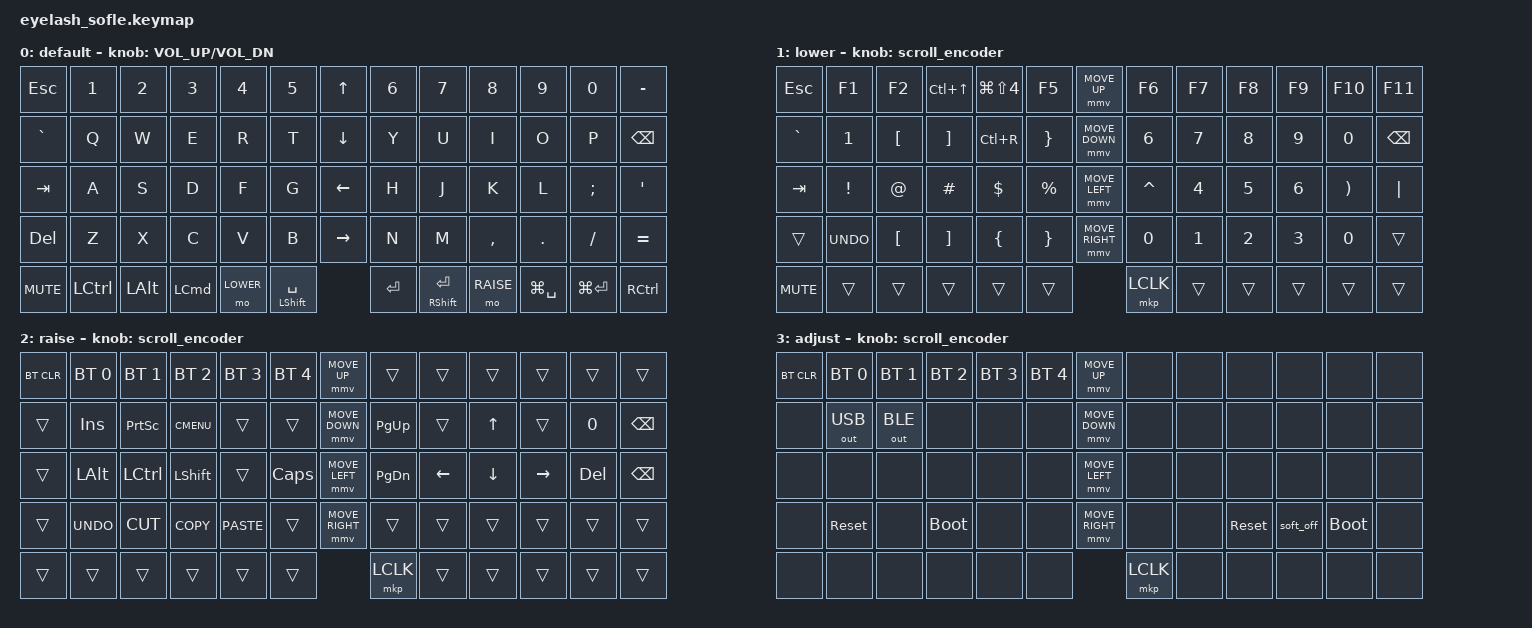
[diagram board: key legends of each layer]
/*
 * Copyright (c) 2020 The ZMK Contributors
 *
 * SPDX-License-Identifier: MIT
 */

#define ZMK_POINTING_DEFAULT_MOVE_VAL 1200
#define ZMK_POINTING_DEFAULT_SCRL_VAL 25

#include <input/processors.dtsi>
#include <zephyr/dt-bindings/input/input-event-codes.h>
#include <behaviors.dtsi>
#include <dt-bindings/zmk/bt.h>
#include <dt-bindings/zmk/keys.h>
#include <dt-bindings/zmk/outputs.h>
#include <dt-bindings/zmk/pointing.h>
#include <dt-bindings/zmk/rgb.h>

&mmv_input_listener { input-processors = <&zip_xy_scaler 2 1>; };

&msc_input_listener { input-processors = <&zip_scroll_scaler 2 1>; };

&msc {
    acceleration-exponent = <1>;
    time-to-max-speed-ms = <100>;
    delay-ms = <0>;
};

&mmv {
    time-to-max-speed-ms = <500>;
    acceleration-exponent = <1>;
    trigger-period-ms = <16>;
};

&soft_off { hold-time-ms = <2000>; };

#define BASE 0
#define LOWER 1
#define RAISE 2
#define ADJUST 3

/ {
    // Activate ADJUST layer by pressing raise and lower

    conditional_layers {
        compatible = "zmk,conditional-layers";

        adjust_layer {
            if-layers = <LOWER RAISE>;
            then-layer = <ADJUST>;
        };
    };

    scroll_encoder: scroll_encoder {
        compatible = "zmk,behavior-sensor-rotate";
        #sensor-binding-cells = <0>;
        bindings = <&msc SCRL_DOWN>, <&msc SCRL_UP>;
        tap-ms = <100>;
    };

    combos {
        compatible = "zmk,combos";

        softoff {
            bindings = <&soft_off>;
            key-positions = <14 28 40>;
        };
    };

    keymap {
        compatible = "zmk,keymap";

        default_layer {
            display-name = "default";

            // ----------------------------------------------------------------------------------------------------------------
            // |  ESC  |  1  |  2  |  3   |  4   |  5   |  UP  |  6   |  7    |  8    |  9   |   0   | MINUS |
            // | GRAVE |  Q  |  W  |  E   |  R   |  T   | DOWN |  Y   |  U    |  I    |  O   |   P   | BKSPC |
            // |  TAB  |  A  |  S  |  D   |  F   |  G   | LEFT |  H   |  J    |  K    |  L   |   ;   |   '   |
            // |  DEL  |  Z  |  X  |  C   |  V   |  B   | RIGHT|  N   |  M    |  ,    |  .   |   /   |   =   |
            //         | MUTE| CTRL| ALT  | CMD  |LOWER | SPACE| ENTER|RAISE  |Spotlight|LG(RET)| CTRL |

            bindings = <
&kp ESC     &kp N1  &kp N2            &kp N3    &kp N4            &kp N5                              &kp UP_ARROW     &kp N6     &kp N7         &kp N8         &kp N9             &kp N0    &kp MINUS
&kp GRAVE   &kp Q   &kp W             &kp E     &kp R             &kp T                               &kp DOWN_ARROW   &kp Y      &kp U          &kp I          &kp O              &kp P     &kp BSPC
&kp TAB     &kp A   &kp S             &kp D     &kp F             &kp G                               &kp LEFT_ARROW   &kp H      &kp J          &kp K          &kp L              &kp SEMI  &kp SQT
&kp DELETE  &kp Z   &kp X             &kp C     &kp V             &kp B                               &kp RIGHT_ARROW  &kp N      &kp M          &kp COMMA      &kp DOT            &kp FSLH  &kp EQUAL
&kp C_MUTE  &kp LEFT_CONTROL  &kp LALT  &kp LEFT_COMMAND  &mo LOWER  &mt LSHFT SPACE    &kp RET      &mt RSHFT RET    &mo RAISE  &kp LG(SPACE)  &kp LG(ENTER)  &kp RIGHT_CONTROL
            >;

            sensor-bindings = <&inc_dec_kp C_VOL_UP C_VOL_DN>;
        };

        lower_layer {
            display-name = "lower";

            bindings = <
&kp ESC    &kp F1      &kp F2            &kp LC(UP_ARROW)   &kp LG(LS(NUMBER_4))  &kp F5                                &mmv MOVE_UP     &kp F6     &kp F7        &kp F8        &kp F9        &kp F10   &kp F11
&kp GRAVE  &kp N1      &kp LEFT_BRACKET  &kp RIGHT_BRACKET  &kp LC(R)             &kp RIGHT_BRACE                       &mmv MOVE_DOWN   &kp N6     &kp N7        &kp N8        &kp N9        &kp N0    &kp BACKSPACE
&kp TAB    &kp EXCL    &kp AT            &kp HASH           &kp DLLR              &kp PRCNT                             &mmv MOVE_LEFT   &kp CARET  &kp NUMBER_4  &kp N5        &kp NUMBER_6  &kp RPAR  &kp PIPE
&trans     &kp K_UNDO  &kp LEFT_BRACKET  &kp RIGHT_BRACKET  &kp LEFT_BRACE        &kp RBRC                              &mmv MOVE_RIGHT  &kp N0     &kp NUMBER_1  &kp NUMBER_2  &kp NUMBER_3  &kp N0    &trans
&kp C_MUTE &trans      &trans            &trans              &trans                &trans             &mkp LCLK           &trans           &trans     &trans        &trans        &trans
            >;

            sensor-bindings = <&scroll_encoder>;
        };

        raise_layer {
            display-name = "raise";

            bindings = <
&bt BT_CLR  &bt BT_SEL 0  &bt BT_SEL 1  &bt BT_SEL 2  &bt BT_SEL 3  &bt BT_SEL 4                    &mmv MOVE_UP     &trans     &trans    &trans    &trans     &trans   &trans
&trans      &kp INS       &kp PSCRN     &kp K_CMENU   &trans        &trans                          &mmv MOVE_DOWN   &kp PG_UP  &trans    &kp UP    &trans     &kp N0   &kp BACKSPACE
&trans      &kp LALT      &kp LCTRL     &kp LSHFT     &trans        &kp CLCK                        &mmv MOVE_LEFT   &kp PG_DN  &kp LEFT  &kp DOWN  &kp RIGHT  &kp DEL  &kp BSPC
&trans      &kp K_UNDO    &kp K_CUT     &kp K_COPY    &kp K_PASTE   &trans                          &mmv MOVE_RIGHT  &trans     &trans    &trans    &trans     &trans   &trans
&trans      &trans        &trans        &trans        &trans        &trans             &mkp LCLK     &trans           &trans     &trans    &trans    &trans
            >;

            sensor-bindings = <&scroll_encoder>;
        };

        adjust_layer {
            display-name = "adjust";

            bindings = <
&bt BT_CLR  &bt BT_SEL 0  &bt BT_SEL 1    &bt BT_SEL 2  &bt BT_SEL 3  &bt BT_SEL 4                    &mmv MOVE_UP     &none  &none  &none       &none      &none        &none
&none       &out OUT_USB  &out OUT_BLE    &none         &none         &none                           &mmv MOVE_DOWN   &none  &none  &none       &none      &none        &none
&none       &none         &none           &none         &none         &none                           &mmv MOVE_LEFT   &none  &none  &none       &none      &none        &none
&none       &sys_reset    &none           &bootloader   &none         &none                           &mmv MOVE_RIGHT  &none  &none  &sys_reset  &soft_off  &bootloader  &none
&none       &none         &none           &none         &none         &none              &mkp LCLK    &none            &none  &none  &none       &none
            >;

            sensor-bindings = <&scroll_encoder>;
        };
    };
};
